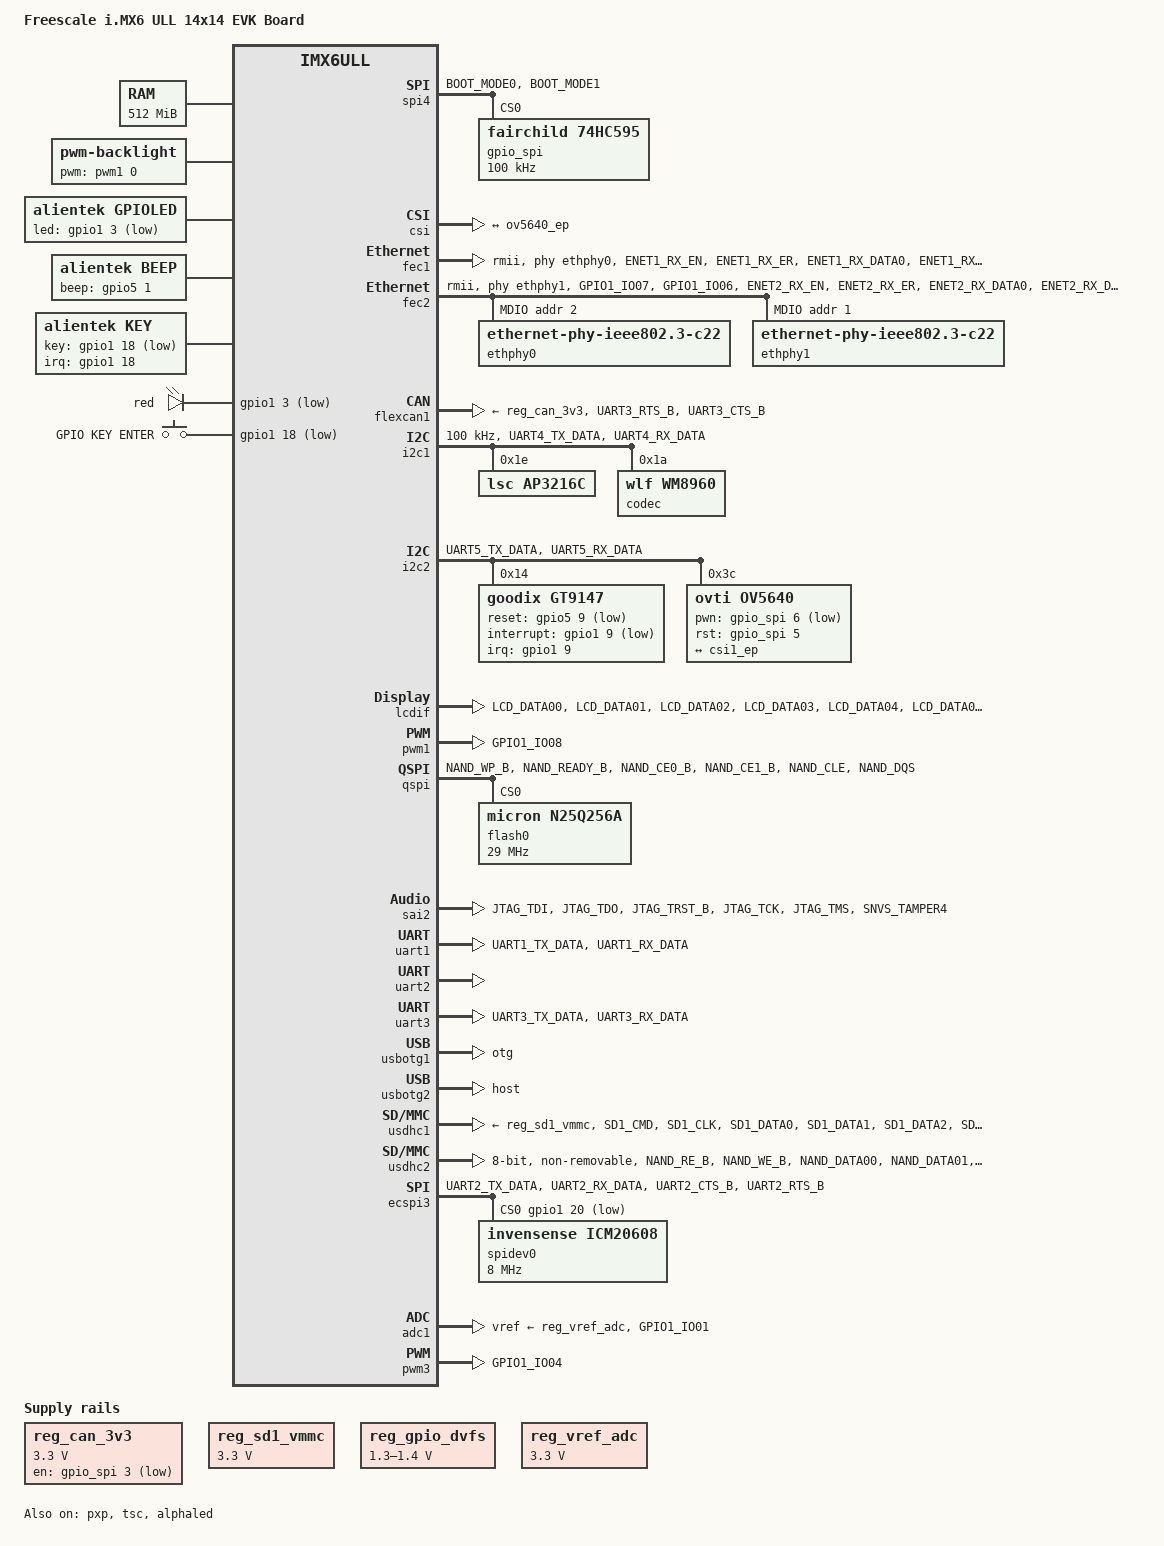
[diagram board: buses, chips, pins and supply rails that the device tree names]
/*
 * Copyright (C) 2016 Freescale Semiconductor, Inc.
 *
 * This program is free software; you can redistribute it and/or modify
 * it under the terms of the GNU General Public License version 2 as
 * published by the Free Software Foundation.
 */

/dts-v1/;

#include <dt-bindings/input/input.h>
#include "imx6ull.dtsi"

/ {
	model = "Freescale i.MX6 ULL 14x14 EVK Board";
	compatible = "fsl,imx6ull-14x14-evk", "fsl,imx6ull";

	chosen {
		stdout-path = &uart1;
	};

	memory {
		reg = <0x80000000 0x20000000>;
	};

	reserved-memory {
		#address-cells = <1>;
		#size-cells = <1>;
		ranges;

		linux,cma {
			compatible = "shared-dma-pool";
			reusable;
			size = <0x14000000>;
			linux,cma-default;
		};
	};

	backlight {
		compatible = "pwm-backlight";
		pwms = <&pwm1 0 5000000>;
		brightness-levels = <0 4 8 16 32 64 128 255>;
		default-brightness-level = <6>;
		status = "okay";
	};

	pxp_v4l2 {
		compatible = "fsl,imx6ul-pxp-v4l2", "fsl,imx6sx-pxp-v4l2", "fsl,imx6sl-pxp-v4l2";
		status = "okay";
	};

	regulators {
		compatible = "simple-bus";
		#address-cells = <1>;
		#size-cells = <0>;

		reg_can_3v3: regulator@0 {
			compatible = "regulator-fixed";
			reg = <0>;
			regulator-name = "can-3v3";
			regulator-min-microvolt = <3300000>;
			regulator-max-microvolt = <3300000>;
			gpios = <&gpio_spi 3 GPIO_ACTIVE_LOW>;
		};

		reg_sd1_vmmc: regulator@1 {
			compatible = "regulator-fixed";
			regulator-name = "VSD_3V3";
			regulator-min-microvolt = <3300000>;
			regulator-max-microvolt = <3300000>;
			// gpio = <&gpio1 9 GPIO_ACTIVE_HIGH>;
			enable-active-high;
		};

		reg_gpio_dvfs: regulator-gpio {
			compatible = "regulator-gpio";
			pinctrl-names = "default";
			pinctrl-0 = <&pinctrl_dvfs>;
			regulator-min-microvolt = <1300000>;
			regulator-max-microvolt = <1400000>;
			regulator-name = "gpio_dvfs";
			regulator-type = "voltage";
			gpios = <&gpio5 3 GPIO_ACTIVE_HIGH>;
			states = <1300000 0x1 1400000 0x0>;
		};

		reg_vref_adc: regulator@2 {
			compatible = "regulator-fixed";
			regulator-name = "VREF_3V3";
			regulator-min-microvolt = <3300000>;
			regulator-max-microvolt = <3300000>;
		};
	};

	sound {
		compatible = "fsl,imx6ul-evk-wm8960",
			   "fsl,imx-audio-wm8960";
		model = "wm8960-audio";
		cpu-dai = <&sai2>;
		audio-codec = <&codec>;
		asrc-controller = <&asrc>;
		codec-master;
		gpr = <&gpr 4 0x100000 0x100000>;
		/*
                 * hp-det = <hp-det-pin hp-det-polarity>;
		 * hp-det-pin: JD1 JD2  or JD3
		 * hp-det-polarity = 0: hp detect high for headphone
		 * hp-det-polarity = 1: hp detect high for speaker
		 */
		hp-det = <3 0>;
		// hp-det-gpios = <&gpio5 4 0>;
		// mic-det-gpios = <&gpio5 4 0>;
		audio-routing =
			"Headphone Jack", "HP_L",
			"Headphone Jack", "HP_R",
			"Ext Spk", "SPK_LP",
			"Ext Spk", "SPK_LN",
			"Ext Spk", "SPK_RP",
			"Ext Spk", "SPK_RN",
			"LINPUT2", "Mic Jack",
			"LINPUT3", "Mic Jack",
			"RINPUT1", "Main MIC",
			"RINPUT2", "Main MIC",
			"Mic Jack", "MICB",
			"Main MIC", "MICB",
			"CPU-Playback", "ASRC-Playback",
			"Playback", "CPU-Playback",
			"ASRC-Capture", "CPU-Capture",
			"CPU-Capture", "Capture";
	};

	spi4 {
		compatible = "spi-gpio";
		pinctrl-names = "default";
		pinctrl-0 = <&pinctrl_spi4>;
		num-chipselects = <1>;
		#address-cells = <1>;
		#size-cells = <0>;

		gpio_spi: gpio_spi@0 {
			compatible = "fairchild,74hc595";
			gpio-controller;
			#gpio-cells = <2>;
			reg = <0>;
			registers-number = <1>;
			registers-default = /bits/ 8 <0x57>;
			spi-max-frequency = <100000>;
		};
	};

	/* sakoroyou 20250731 */
	alphaled {
		#address-cells = <1>;
		#size-cells = <1>;
		compatible ="alientek,alphaled";
		status = "okay";
		reg = < 0x020c406c 0x04	/*ccm_ccgr1_base*/
				0x020e0068 0x04 /*sw_mux_gpio1_io03_base*/
				0x020e02f4 0x04 /*sw_pad_gpio1_io03_base*/
				0x0209c004 0x04 /*gpio1_gdir_base*/
				0x0209c000 0x04 /*gpio1_dr_base*/
			>;
	};

	gpioled {
		compatible = "alientek,gpioled";
		pinctrl-names = "default";
		pinctrl-0 = <&pinctrl_gpioled>;
		led-gpios = <&gpio1 3 GPIO_ACTIVE_LOW>;
		status = "okay";
	};

	beep {
		compatible = "alientek,beep";
		pinctrl-names = "default";
		pinctrl-0 = <&pinctrl_beep>;
		beep-gpios = <&gpio5 1 GPIO_ACTIVE_HIGH>;
		status = "okay";
	};
	key {
		compatible = "alientek,key";
		pinctrl-names = "default";
		pinctrl-0 = <&pinctrl_key>;
		key-gpios = <&gpio1 18 GPIO_ACTIVE_LOW>;
		status = "okay";
		interrupt-parent = <&gpio1>;
		interrupts = <18 IRQ_TYPE_EDGE_BOTH>;
	};

	dtsleds {
		compatible = "gpio-leds";

		led0 {
			label = "red";
			pinctrl-names = "default";
			pinctrl-0 = <&pinctrl_gpioled>;
			gpios = <&gpio1 3 GPIO_ACTIVE_LOW>;
			default-state = "on";
			linux,default-trigger = "heartbeat";
		};
	};

	gpio_keys {
		compatible = "gpio-keys";
		#address-cells = <1>;
		#size-cells = <0>;
		autorepeat;

		pinctrl-names = "default";
		pinctrl-0 = <&pinctrl_key>;

		key0 {
			label = "GPIO KEY ENTER";
			linux,code = <KEY_ENTER>;
			gpios = <&gpio1 18 GPIO_ACTIVE_LOW>;
		};
	};
};

&cpu0 {
	arm-supply = <&reg_arm>;
	soc-supply = <&reg_soc>;
	dc-supply = <&reg_gpio_dvfs>;
};

&clks {
	assigned-clocks = <&clks IMX6UL_CLK_PLL4_AUDIO_DIV>;
	assigned-clock-rates = <786432000>;
};

&csi {
	status = "okay";

	port {
		csi1_ep: endpoint {
			remote-endpoint = <&ov5640_ep>;
		};
	};
};

&fec1 {
	pinctrl-names = "default";
	pinctrl-0 = <&pinctrl_enet1
				&pinctrl_enet1_reset>;
	phy-mode = "rmii";
	phy-handle = <&ethphy0>;
	phy-reset-gpios = <&gpio5 7 GPIO_ACTIVE_LOW>;
	phy-reset-duration = <200>;
	status = "okay";
};

&fec2 {
	pinctrl-names = "default";
	pinctrl-0 = <&pinctrl_enet2
				&pinctrl_enet2_reset>;
	phy-mode = "rmii";
	phy-handle = <&ethphy1>;
	phy-reset-gpios = <&gpio5 8 GPIO_ACTIVE_LOW>;
	phy-reset-duration = <200>;
	status = "okay";

	mdio {
		#address-cells = <1>;
		#size-cells = <0>;

		ethphy0: ethernet-phy@2 {
			compatible = "ethernet-phy-ieee802.3-c22";
			smsc,disable-energy-detect;
			reg = <2>;
		};

		ethphy1: ethernet-phy@1 {
			compatible = "ethernet-phy-ieee802.3-c22";
			smsc,disable-energy-detect;
			reg = <1>;
		};
	};
};

&flexcan1 {
	pinctrl-names = "default";
	pinctrl-0 = <&pinctrl_flexcan1>;
	xceiver-supply = <&reg_can_3v3>;
	status = "okay";
};

// &flexcan2 {
// 	pinctrl-names = "default";
// 	pinctrl-0 = <&pinctrl_flexcan2>;
// 	xceiver-supply = <&reg_can_3v3>;
// 	status = "okay";
// };

&gpc {
	fsl,cpu_pupscr_sw2iso = <0x1>;
	fsl,cpu_pupscr_sw = <0x0>;
	fsl,cpu_pdnscr_iso2sw = <0x1>;
	fsl,cpu_pdnscr_iso = <0x1>;
	fsl,ldo-bypass = <0>; /* DCDC, ldo-enable */
};

&i2c1 {
	clock-frequency = <100000>;
	pinctrl-names = "default";
	pinctrl-0 = <&pinctrl_i2c1>;
	status = "okay";

	ap3216c@1e {
		compatible = "lsc,ap3216c";
		reg = <0x1e>;
	};

	codec: wm8960@1a {
		compatible = "wlf,wm8960";
		reg = <0x1a>;
		clocks = <&clks IMX6UL_CLK_SAI2>;
		clock-names = "mclk";
		wlf,shared-lrclk;
	};
};

&i2c2 {
	clock_frequency = <100000>;
	pinctrl-names = "default";
	pinctrl-0 = <&pinctrl_i2c2>;
	status = "okay";

	// /*you 7寸 FT5426*/
	// ft5426: ft5426@38 {
	// 	compatible = "edt,edt-ft5426";
	// 	reg = <0x38>;
	// 	pinctrl-names = "default";
	// 	pinctrl-0 = <&pinctrl_tsc
	// 				&pinctrl_tsc_reset>;
	// 	interrupt-parent = <&gpio1>;
	// 	interrupts = <9 IRQ_TYPE_NONE>;
	// 	reset-gpios = <&gpio5 9 GPIO_ACTIVE_LOW>;
	// 	interrupt-gpios = <&gpio1 9 GPIO_ACTIVE_LOW>;
	// 	status = "okay";
	// };

	gt9147: gt9147@14 {
		compatible = "goodix,gt9147", "goodix,gt9xx";
		reg = <0x14>;
		pinctrl-names = "default";
		pinctrl-0 = <&pinctrl_tsc>;
		interrupt-parent = <&gpio1>;
		interrupts = <9 IRQ_TYPE_NONE>;
		reset-gpios = <&gpio5 9 GPIO_ACTIVE_LOW>;
		interrupt-gpios = <&gpio1 9 GPIO_ACTIVE_LOW>;
		status = "okay";
	};

	// codec: wm8960@1a {
	// 	compatible = "wlf,wm8960";
	// 	reg = <0x1a>;
	// 	clocks = <&clks IMX6UL_CLK_SAI2>;
	// 	clock-names = "mclk";
	// 	wlf,shared-lrclk;
	// };

	ov5640: ov5640@3c {
		compatible = "ovti,ov5640";
		reg = <0x3c>;
		pinctrl-names = "default";
		pinctrl-0 = <&pinctrl_csi1>;
		clocks = <&clks IMX6UL_CLK_CSI>;
		clock-names = "csi_mclk";
		pwn-gpios = <&gpio_spi 6 1>;
		rst-gpios = <&gpio_spi 5 0>;
		csi_id = <0>;
		mclk = <24000000>;
		mclk_source = <0>;
		status = "okay";
		port {
			ov5640_ep: endpoint {
				remote-endpoint = <&csi1_ep>;
			};
		};
	};
};

&iomuxc {
	pinctrl-names = "default";
	pinctrl-0 = <&pinctrl_hog_1>;
	imx6ul-evk {
		pinctrl_hog_1: hoggrp-1 {
			fsl,pins = <
				MX6UL_PAD_UART1_RTS_B__GPIO1_IO19	0x17059 /* SD1 CD */
				MX6UL_PAD_GPIO1_IO05__USDHC1_VSELECT	0x17059 /* SD1 VSELECT */
				// MX6UL_PAD_GPIO1_IO09__GPIO1_IO09        0x17059 /* SD1 RESET */
				MX6UL_PAD_GPIO1_IO00__ANATOP_OTG1_ID    0x13058 /*OTG1 ID */
			>;
		};

		/*you led*/
		pinctrl_gpioled: ledgrp{
			fsl,pins = <
				MX6UL_PAD_GPIO1_IO03__GPIO1_IO03	0x10b0
			>;
		};

		/*you beep*/
		pinctrl_beep: beepgrp{
			fsl,pins = <
				MX6ULL_PAD_SNVS_TAMPER1__GPIO5_IO01	0x10b0
			>;
		};
		
		/*you key*/
		pinctrl_key: keygrp{
			fsl,pins = <
				MX6UL_PAD_UART1_CTS_B__GPIO1_IO18	0xF080
			>;
		};

		/*you spi*/
		pinctrl_ecspi3: ecspi3grp{
			fsl,pins = <
				MX6UL_PAD_UART2_TX_DATA__GPIO1_IO20	  	0x10b0
				MX6UL_PAD_UART2_RX_DATA__ECSPI3_SCLK	0x10b1
				MX6UL_PAD_UART2_CTS_B__ECSPI3_MOSI		0x10b1
				MX6UL_PAD_UART2_RTS_B__ECSPI3_MISO		0x10b1
			>;
		};

		/*you uart3*/
		pinctrl_uart3: uart3grp {
			fsl,pins = <
				MX6UL_PAD_UART3_TX_DATA__UART3_DCE_TX	0x1b0b1
				MX6UL_PAD_UART3_RX_DATA__UART3_DCE_RX	0x1b0b1
			>;
		};

		/*you tsc INT*/
		pinctrl_tsc: tscgrp {
			fsl,pins = <
				/* 4.3 寸 RGB 屏幕,GT9147 */
				MX6UL_PAD_SNVS_TAMPER9__GPIO5_IO09 		0x10B0 /* TSC_RST */
				MX6UL_PAD_GPIO1_IO09__GPIO1_IO09		0x10B0 /* TSC_INT */
			>;
		};

		/*you ADC1_CH1*/
		pinctrl_adc1: adc1grp {
			fsl,pins = <
				MX6UL_PAD_GPIO1_IO01__GPIO1_IO01 0xb0
			>;
		};

		/*you PWM3*/
		pinctrl_pwm3: pwm3grp {
			fsl,pins = <
				MX6UL_PAD_GPIO1_IO04__PWM3_OUT 0x110b0
			>;
		};

		pinctrl_csi1: csi1grp {
			fsl,pins = <
				MX6UL_PAD_CSI_MCLK__CSI_MCLK		0x1b088
				MX6UL_PAD_CSI_PIXCLK__CSI_PIXCLK	0x1b088
				MX6UL_PAD_CSI_VSYNC__CSI_VSYNC		0x1b088
				MX6UL_PAD_CSI_HSYNC__CSI_HSYNC		0x1b088
				MX6UL_PAD_CSI_DATA00__CSI_DATA02	0x1b088
				MX6UL_PAD_CSI_DATA01__CSI_DATA03	0x1b088
				MX6UL_PAD_CSI_DATA02__CSI_DATA04	0x1b088
				MX6UL_PAD_CSI_DATA03__CSI_DATA05	0x1b088
				MX6UL_PAD_CSI_DATA04__CSI_DATA06	0x1b088
				MX6UL_PAD_CSI_DATA05__CSI_DATA07	0x1b088
				MX6UL_PAD_CSI_DATA06__CSI_DATA08	0x1b088
				MX6UL_PAD_CSI_DATA07__CSI_DATA09	0x1b088
			>;
		};

		pinctrl_enet1: enet1grp {
			fsl,pins = <
				MX6UL_PAD_ENET1_RX_EN__ENET1_RX_EN	0x1b0b0
				MX6UL_PAD_ENET1_RX_ER__ENET1_RX_ER	0x1b0b0
				MX6UL_PAD_ENET1_RX_DATA0__ENET1_RDATA00	0x1b0b0
				MX6UL_PAD_ENET1_RX_DATA1__ENET1_RDATA01	0x1b0b0
				MX6UL_PAD_ENET1_TX_EN__ENET1_TX_EN	0x1b0b0
				MX6UL_PAD_ENET1_TX_DATA0__ENET1_TDATA00	0x1b0b0
				MX6UL_PAD_ENET1_TX_DATA1__ENET1_TDATA01	0x1b0b0
				MX6UL_PAD_ENET1_TX_CLK__ENET1_REF_CLK1	0x4001b031
			>;
		};

		pinctrl_enet2: enet2grp {
			fsl,pins = <
				MX6UL_PAD_GPIO1_IO07__ENET2_MDC		0x1b0b0
				MX6UL_PAD_GPIO1_IO06__ENET2_MDIO	0x1b0b0
				MX6UL_PAD_ENET2_RX_EN__ENET2_RX_EN	0x1b0b0
				MX6UL_PAD_ENET2_RX_ER__ENET2_RX_ER	0x1b0b0
				MX6UL_PAD_ENET2_RX_DATA0__ENET2_RDATA00	0x1b0b0
				MX6UL_PAD_ENET2_RX_DATA1__ENET2_RDATA01	0x1b0b0
				MX6UL_PAD_ENET2_TX_EN__ENET2_TX_EN	0x1b0b0
				MX6UL_PAD_ENET2_TX_DATA0__ENET2_TDATA00	0x1b0b0
				MX6UL_PAD_ENET2_TX_DATA1__ENET2_TDATA01	0x1b0b0
				MX6UL_PAD_ENET2_TX_CLK__ENET2_REF_CLK2	0x4001b031
			>;
		};

		pinctrl_flexcan1: flexcan1grp{
			fsl,pins = <
				MX6UL_PAD_UART3_RTS_B__FLEXCAN1_RX	0x1b020
				MX6UL_PAD_UART3_CTS_B__FLEXCAN1_TX	0x1b020
			>;
		};

		pinctrl_flexcan2: flexcan2grp{
			fsl,pins = <
				// MX6UL_PAD_UART2_RTS_B__FLEXCAN2_RX	0x1b020
				// MX6UL_PAD_UART2_CTS_B__FLEXCAN2_TX	0x1b020
			>;
		};

		pinctrl_i2c1: i2c1grp {
			fsl,pins = <
				MX6UL_PAD_UART4_TX_DATA__I2C1_SCL 0x4001b8b0
				MX6UL_PAD_UART4_RX_DATA__I2C1_SDA 0x4001b8b0
			>;
		};

		pinctrl_i2c2: i2c2grp {
			fsl,pins = <
				MX6UL_PAD_UART5_TX_DATA__I2C2_SCL 0x4001b8b0
				MX6UL_PAD_UART5_RX_DATA__I2C2_SDA 0x4001b8b0
			>;
		};

		pinctrl_lcdif_dat: lcdifdatgrp {
			fsl,pins = <
				MX6UL_PAD_LCD_DATA00__LCDIF_DATA00  0x49
				MX6UL_PAD_LCD_DATA01__LCDIF_DATA01  0x49
				MX6UL_PAD_LCD_DATA02__LCDIF_DATA02  0x49
				MX6UL_PAD_LCD_DATA03__LCDIF_DATA03  0x49
				MX6UL_PAD_LCD_DATA04__LCDIF_DATA04  0x49
				MX6UL_PAD_LCD_DATA05__LCDIF_DATA05  0x49
				MX6UL_PAD_LCD_DATA06__LCDIF_DATA06  0x49
				MX6UL_PAD_LCD_DATA07__LCDIF_DATA07  0x49
				MX6UL_PAD_LCD_DATA08__LCDIF_DATA08  0x49
				MX6UL_PAD_LCD_DATA09__LCDIF_DATA09  0x49
				MX6UL_PAD_LCD_DATA10__LCDIF_DATA10  0x49
				MX6UL_PAD_LCD_DATA11__LCDIF_DATA11  0x49
				MX6UL_PAD_LCD_DATA12__LCDIF_DATA12  0x49
				MX6UL_PAD_LCD_DATA13__LCDIF_DATA13  0x49
				MX6UL_PAD_LCD_DATA14__LCDIF_DATA14  0x49
				MX6UL_PAD_LCD_DATA15__LCDIF_DATA15  0x49
				MX6UL_PAD_LCD_DATA16__LCDIF_DATA16  0x49
				MX6UL_PAD_LCD_DATA17__LCDIF_DATA17  0x49
				MX6UL_PAD_LCD_DATA18__LCDIF_DATA18  0x49
				MX6UL_PAD_LCD_DATA19__LCDIF_DATA19  0x49
				MX6UL_PAD_LCD_DATA20__LCDIF_DATA20  0x49
				MX6UL_PAD_LCD_DATA21__LCDIF_DATA21  0x49
				MX6UL_PAD_LCD_DATA22__LCDIF_DATA22  0x49
				MX6UL_PAD_LCD_DATA23__LCDIF_DATA23  0x49
			>;
		};

		pinctrl_lcdif_ctrl: lcdifctrlgrp {
			fsl,pins = <
				MX6UL_PAD_LCD_CLK__LCDIF_CLK	    0x49
				MX6UL_PAD_LCD_ENABLE__LCDIF_ENABLE  0x49
				MX6UL_PAD_LCD_HSYNC__LCDIF_HSYNC    0x49
				MX6UL_PAD_LCD_VSYNC__LCDIF_VSYNC    0x49
			>;
		};

		pinctrl_pwm1: pwm1grp {
			fsl,pins = <
				MX6UL_PAD_GPIO1_IO08__PWM1_OUT   0x110b0
			>;
		};

		pinctrl_qspi: qspigrp {
			fsl,pins = <
				MX6UL_PAD_NAND_WP_B__QSPI_A_SCLK      0x70a1
				MX6UL_PAD_NAND_READY_B__QSPI_A_DATA00 0x70a1
				MX6UL_PAD_NAND_CE0_B__QSPI_A_DATA01   0x70a1
				MX6UL_PAD_NAND_CE1_B__QSPI_A_DATA02   0x70a1
				MX6UL_PAD_NAND_CLE__QSPI_A_DATA03     0x70a1
				MX6UL_PAD_NAND_DQS__QSPI_A_SS0_B      0x70a1
			>;
		};

		pinctrl_sai2: sai2grp {
			fsl,pins = <
				MX6UL_PAD_JTAG_TDI__SAI2_TX_BCLK	0x17088
				MX6UL_PAD_JTAG_TDO__SAI2_TX_SYNC	0x17088
				MX6UL_PAD_JTAG_TRST_B__SAI2_TX_DATA	0x11088
				MX6UL_PAD_JTAG_TCK__SAI2_RX_DATA	0x11088
				MX6UL_PAD_JTAG_TMS__SAI2_MCLK		0x17088
			>;
		};

		// pinctrl_tsc: tscgrp {
		// 	fsl,pins = <
		// 		MX6UL_PAD_GPIO1_IO01__GPIO1_IO01	0xb0
		// 		MX6UL_PAD_GPIO1_IO02__GPIO1_IO02	0xb0
		// 		/*MX6UL_PAD_GPIO1_IO03__GPIO1_IO03	0xb0*/
		// 		MX6UL_PAD_GPIO1_IO04__GPIO1_IO04	0xb0
		// 	>;
		// };

		pinctrl_uart1: uart1grp {
			fsl,pins = <
				MX6UL_PAD_UART1_TX_DATA__UART1_DCE_TX 0x1b0b1
				MX6UL_PAD_UART1_RX_DATA__UART1_DCE_RX 0x1b0b1
			>;
		};

		pinctrl_uart2: uart2grp {
			fsl,pins = <
				// MX6UL_PAD_UART2_TX_DATA__UART2_DCE_TX	0x1b0b1
				// MX6UL_PAD_UART2_RX_DATA__UART2_DCE_RX	0x1b0b1
				// MX6UL_PAD_UART3_RX_DATA__UART2_DCE_RTS	0x1b0b1
				// MX6UL_PAD_UART3_TX_DATA__UART2_DCE_CTS	0x1b0b1
			>;
		};

		pinctrl_uart2dte: uart2dtegrp {
			fsl,pins = <
				// MX6UL_PAD_UART2_TX_DATA__UART2_DTE_RX	0x1b0b1
				// MX6UL_PAD_UART2_RX_DATA__UART2_DTE_TX	0x1b0b1
				// MX6UL_PAD_UART3_RX_DATA__UART2_DTE_CTS	0x1b0b1
				// MX6UL_PAD_UART3_TX_DATA__UART2_DTE_RTS	0x1b0b1
			>;
		};

		pinctrl_usdhc1: usdhc1grp {
			fsl,pins = <
				MX6UL_PAD_SD1_CMD__USDHC1_CMD     0x17059
				MX6UL_PAD_SD1_CLK__USDHC1_CLK     0x10071
				MX6UL_PAD_SD1_DATA0__USDHC1_DATA0 0x17059
				MX6UL_PAD_SD1_DATA1__USDHC1_DATA1 0x17059
				MX6UL_PAD_SD1_DATA2__USDHC1_DATA2 0x17059
				MX6UL_PAD_SD1_DATA3__USDHC1_DATA3 0x17059
			>;
		};

		pinctrl_usdhc1_100mhz: usdhc1grp100mhz {
			fsl,pins = <
				MX6UL_PAD_SD1_CMD__USDHC1_CMD     0x170b9
				MX6UL_PAD_SD1_CLK__USDHC1_CLK     0x100b9
				MX6UL_PAD_SD1_DATA0__USDHC1_DATA0 0x170b9
				MX6UL_PAD_SD1_DATA1__USDHC1_DATA1 0x170b9
				MX6UL_PAD_SD1_DATA2__USDHC1_DATA2 0x170b9
				MX6UL_PAD_SD1_DATA3__USDHC1_DATA3 0x170b9
			>;
		};

		pinctrl_usdhc1_200mhz: usdhc1grp200mhz {
			fsl,pins = <
				MX6UL_PAD_SD1_CMD__USDHC1_CMD     0x170f9
				MX6UL_PAD_SD1_CLK__USDHC1_CLK     0x100f9
				MX6UL_PAD_SD1_DATA0__USDHC1_DATA0 0x170f9
				MX6UL_PAD_SD1_DATA1__USDHC1_DATA1 0x170f9
				MX6UL_PAD_SD1_DATA2__USDHC1_DATA2 0x170f9
				MX6UL_PAD_SD1_DATA3__USDHC1_DATA3 0x170f9
			>;
		};

		pinctrl_usdhc2: usdhc2grp {
			fsl,pins = <
				MX6UL_PAD_NAND_RE_B__USDHC2_CLK     0x10069
				MX6UL_PAD_NAND_WE_B__USDHC2_CMD     0x17059
				MX6UL_PAD_NAND_DATA00__USDHC2_DATA0 0x17059
				MX6UL_PAD_NAND_DATA01__USDHC2_DATA1 0x17059
				MX6UL_PAD_NAND_DATA02__USDHC2_DATA2 0x17059
				MX6UL_PAD_NAND_DATA03__USDHC2_DATA3 0x17059
			>;
		};

		pinctrl_usdhc2_8bit: usdhc2grp_8bit {
			fsl,pins = <
				MX6UL_PAD_NAND_RE_B__USDHC2_CLK     0x10069
				MX6UL_PAD_NAND_WE_B__USDHC2_CMD     0x17059
				MX6UL_PAD_NAND_DATA00__USDHC2_DATA0 0x17059
				MX6UL_PAD_NAND_DATA01__USDHC2_DATA1 0x17059
				MX6UL_PAD_NAND_DATA02__USDHC2_DATA2 0x17059
				MX6UL_PAD_NAND_DATA03__USDHC2_DATA3 0x17059
				MX6UL_PAD_NAND_DATA04__USDHC2_DATA4 0x17059
				MX6UL_PAD_NAND_DATA05__USDHC2_DATA5 0x17059
				MX6UL_PAD_NAND_DATA06__USDHC2_DATA6 0x17059
				MX6UL_PAD_NAND_DATA07__USDHC2_DATA7 0x17059
			>;
		};

		pinctrl_usdhc2_8bit_100mhz: usdhc2grp_8bit_100mhz {
			fsl,pins = <
				MX6UL_PAD_NAND_RE_B__USDHC2_CLK     0x100b9
				MX6UL_PAD_NAND_WE_B__USDHC2_CMD     0x170b9
				MX6UL_PAD_NAND_DATA00__USDHC2_DATA0 0x170b9
				MX6UL_PAD_NAND_DATA01__USDHC2_DATA1 0x170b9
				MX6UL_PAD_NAND_DATA02__USDHC2_DATA2 0x170b9
				MX6UL_PAD_NAND_DATA03__USDHC2_DATA3 0x170b9
				MX6UL_PAD_NAND_DATA04__USDHC2_DATA4 0x170b9
				MX6UL_PAD_NAND_DATA05__USDHC2_DATA5 0x170b9
				MX6UL_PAD_NAND_DATA06__USDHC2_DATA6 0x170b9
				MX6UL_PAD_NAND_DATA07__USDHC2_DATA7 0x170b9
			>;
		};

		pinctrl_usdhc2_8bit_200mhz: usdhc2grp_8bit_200mhz {
			fsl,pins = <
				MX6UL_PAD_NAND_RE_B__USDHC2_CLK     0x100f9
				MX6UL_PAD_NAND_WE_B__USDHC2_CMD     0x170f9
				MX6UL_PAD_NAND_DATA00__USDHC2_DATA0 0x170f9
				MX6UL_PAD_NAND_DATA01__USDHC2_DATA1 0x170f9
				MX6UL_PAD_NAND_DATA02__USDHC2_DATA2 0x170f9
				MX6UL_PAD_NAND_DATA03__USDHC2_DATA3 0x170f9
				MX6UL_PAD_NAND_DATA04__USDHC2_DATA4 0x170f9
				MX6UL_PAD_NAND_DATA05__USDHC2_DATA5 0x170f9
				MX6UL_PAD_NAND_DATA06__USDHC2_DATA6 0x170f9
				MX6UL_PAD_NAND_DATA07__USDHC2_DATA7 0x170f9
			>;
		};

		pinctrl_wdog: wdoggrp {
			fsl,pins = <
				MX6UL_PAD_LCD_RESET__WDOG1_WDOG_ANY    0x30b0
			>;
		};
	};
};

&iomuxc_snvs {
	pinctrl-names = "default_snvs";
        pinctrl-0 = <&pinctrl_hog_2>;
        imx6ul-evk {
		pinctrl_hog_2: hoggrp-2 {
                        fsl,pins = <
                                MX6ULL_PAD_SNVS_TAMPER0__GPIO5_IO00      0x80000000
                        >;
                };

		pinctrl_dvfs: dvfsgrp {
                        fsl,pins = <
                                MX6ULL_PAD_SNVS_TAMPER3__GPIO5_IO03      0x79
                        >;
                };
		
		pinctrl_lcdif_reset: lcdifresetgrp {
                        fsl,pins = <
                                /* used for lcd reset */
                                // MX6ULL_PAD_SNVS_TAMPER9__GPIO5_IO09  0x79
                        >;
                };

		pinctrl_spi4: spi4grp {
                        fsl,pins = <
                                MX6ULL_PAD_BOOT_MODE0__GPIO5_IO10        0x70a1
                                MX6ULL_PAD_BOOT_MODE1__GPIO5_IO11        0x70a1
                        >;
                };

                pinctrl_sai2_hp_det_b: sai2_hp_det_grp {
                        fsl,pins = <
                                MX6ULL_PAD_SNVS_TAMPER4__GPIO5_IO04   0x17059
                        >;
                };

				/*you MT RST*/
				pinctrl_tsc_reset: tsc_reset {
					fsl,pins = <
						MX6ULL_PAD_SNVS_TAMPER9__GPIO5_IO09		0x10b0
					>;
				};
        };

		pinctrl_enet1_reset: enet1resetgrp {
			fsl,pins = <
				MX6ULL_PAD_SNVS_TAMPER7__GPIO5_IO07 0x10B0 /* ENET1 RESET */
			>;
		};

		pinctrl_enet2_reset: enet2resetgrp {
			fsl,pins = <
				MX6ULL_PAD_SNVS_TAMPER8__GPIO5_IO08 0x10B0 /* ENET2 RESET */
			>;
		};
};


&lcdif {
	pinctrl-names = "default";
	pinctrl-0 = <&pinctrl_lcdif_dat
		     &pinctrl_lcdif_ctrl>;
	display = <&display0>;
	status = "okay";

	display0: display {
		bits-per-pixel = <24>;
		bus-width = <24>;

		display-timings {
			native-mode = <&timing0>;
			timing0: timing0 {
			clock-frequency = <31000000>;
			hactive = <800>;
			vactive = <480>;
			hfront-porch = <40>;
			hback-porch = <88>;
			hsync-len = <48>;
			vback-porch = <32>;
			vfront-porch = <13>;
			vsync-len = <3>;

			hsync-active = <0>;
			vsync-active = <0>;
			de-active = <1>;
			pixelclk-active = <0>;
			};
		};
	};
};

&pwm1 {
	pinctrl-names = "default";
	pinctrl-0 = <&pinctrl_pwm1>;
	status = "okay";
};

&pxp {
	status = "okay";
};

&qspi {
	pinctrl-names = "default";
	pinctrl-0 = <&pinctrl_qspi>;
	status = "okay";
	ddrsmp=<0>;

	flash0: n25q256a@0 {
		#address-cells = <1>;
		#size-cells = <1>;
		compatible = "micron,n25q256a";
		spi-max-frequency = <29000000>;
		spi-nor,ddr-quad-read-dummy = <6>;
		reg = <0>;
	};
};

&sai2 {
	pinctrl-names = "default";
	pinctrl-0 = <&pinctrl_sai2
		     &pinctrl_sai2_hp_det_b>;

	assigned-clocks = <&clks IMX6UL_CLK_SAI2_SEL>,
			  <&clks IMX6UL_CLK_SAI2>;
	assigned-clock-parents = <&clks IMX6UL_CLK_PLL4_AUDIO_DIV>;
	assigned-clock-rates = <0>, <12288000>;

	status = "okay";
};

&tsc {
	pinctrl-names = "default";
	pinctrl-0 = <&pinctrl_tsc>;
	/*nur-gpio = <&gpio1 3 GPIO_ACTIVE_LOW>;*/
	measure-delay-time = <0xffff>;
	pre-charge-time = <0xfff>;
	status = "okay";
};

&uart1 {
	pinctrl-names = "default";
	pinctrl-0 = <&pinctrl_uart1>;
	status = "okay";
};

&uart2 {
	pinctrl-names = "default";
	pinctrl-0 = <&pinctrl_uart2>;
	fsl,uart-has-rtscts;
	/* for DTE mode, add below change */
	/* fsl,dte-mode; */
	/* pinctrl-0 = <&pinctrl_uart2dte>; */
	status = "okay";
};

&uart3 {
	pinctrl-names = "default";
	pinctrl-0 = <&pinctrl_uart3>;
	status = "okay";
};

&usbotg1 {
	dr_mode = "otg";
	srp-disable;
	hnp-disable;
	adp-disable;
	status = "okay";
};

&usbotg2 {
	dr_mode = "host";
	disable-over-current;
	status = "okay";
};

&usbphy1 {
	tx-d-cal = <0x5>;
};

&usbphy2 {
	tx-d-cal = <0x5>;
};

&usdhc1 {
	pinctrl-names = "default", "state_100mhz", "state_200mhz";
	pinctrl-0 = <&pinctrl_usdhc1>;
	pinctrl-1 = <&pinctrl_usdhc1_100mhz>;
	pinctrl-2 = <&pinctrl_usdhc1_200mhz>;
	cd-gpios = <&gpio1 19 GPIO_ACTIVE_LOW>;
	keep-power-in-suspend;
	enable-sdio-wakeup;
	vmmc-supply = <&reg_sd1_vmmc>;
	status = "okay";
};

&usdhc2 {
	pinctrl-names = "default", "state_100mhz", "state_200mhz";
	pinctrl-0 = <&pinctrl_usdhc2_8bit>;
	pinctrl-1 = <&pinctrl_usdhc2_8bit_100mhz>;
	pinctrl-2 = <&pinctrl_usdhc2_8bit_200mhz>;
	bus-width = <8>;
	non-removable;
	no-1-8-v;
	status = "okay";
};

&wdog1 {
	pinctrl-names = "default";
	pinctrl-0 = <&pinctrl_wdog>;
	fsl,wdog_b;
};

&ecspi3 {
	fsl,spi-num-chipselects = <1>;					// 一个片选
	cs-gpios = <&gpio1 20 GPIO_ACTIVE_LOW>;		// linux内核自动片选引脚
	// cs-gpio = <&gpio1 20 GPIO_ACTIVE_LOW>;			// 软件片选引脚
	pinctrl-names = "default";
	pinctrl-0 = <&pinctrl_ecspi3>;
	status = "okay";

	// 对应的SPI芯片子节点
	spidev0: icm20608@0 {							// @ 后面的0表示此SPI芯片接到哪个硬件片选上
		reg = <0>;									// 硬件片选号
		compatible = "invensense,icm20608";
		spi-max-frequency = <8000000>;				// 最大工作频率
	};
};

/*you ADC1_CH1*/
&adc1 {
	compatible = "fsl,imx6ul-adc", "fsl,vf610-adc", "fsl,imx6ull-adc";
    pinctrl-names = "default";
    pinctrl-0 = <&pinctrl_adc1>;
    num-channels = <2>;
    vref-supply = <&reg_vref_adc>;
    status = "okay";
};

/*you pwm3*/
&pwm3 {
	pinctrl-names = "default";
	pinctrl-0 = <&pinctrl_pwm3>;
	clocks = <&clks IMX6UL_CLK_PWM3>,
	        <&clks IMX6UL_CLK_PWM3>;
	status = "okay";
};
